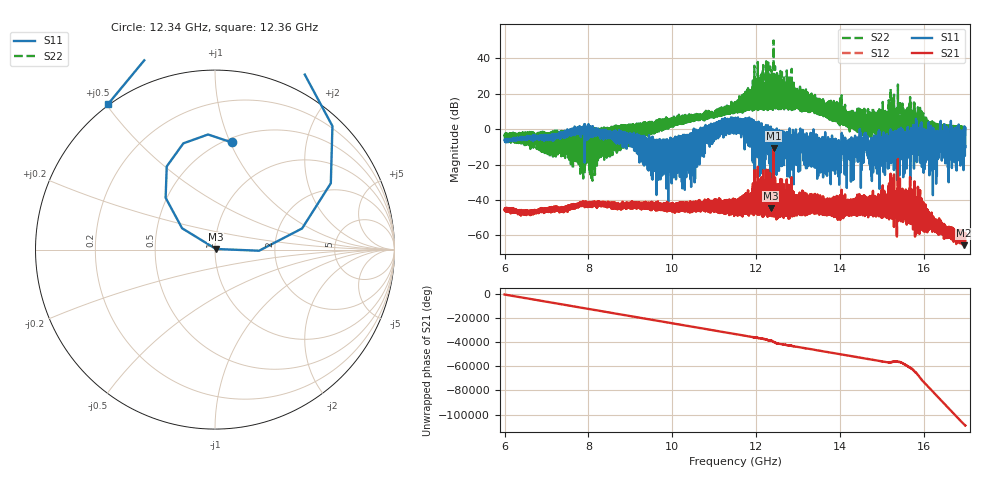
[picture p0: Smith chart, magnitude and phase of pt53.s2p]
#  HZ  S  RI  R  50.00
! Rohde & Schwarz Vector Network Analyzer
! Rohde-Schwarz,ZNA67-2Port,1332450062101215,3.01
! Created: UTC 10/16/2026, 10:05:17 AM
! freq[Hz]  re:S11  im:S11  re:S21  im:S21  re:S12  im:S12  re:S22  im:S22
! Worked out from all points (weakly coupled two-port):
!   11001 points, 6 GHz to 17 GHz, reference 50 ohm
!   highest |S21| = -10.59 dB at 12.42 GHz (marker M1); lowest = -65.7 dB at 16.97 GHz (marker M2)
!   lowest |S11| = -44.4 dB at 12.35 GHz (marker M3), VSWR 1.01, Z = 50.5 + j0.365 ohm
!   |S11| at or under -10 dB: 13.86648 GHz to 13.89284 GHz (26.35 MHz wide, 0.19 % of centre); 13.98373 GHz to 14.01278 GHz (29.04 MHz wide, 0.207 % of centre); 14.70434 GHz to 14.73544 GHz (31.1 MHz wide, 0.211 % of centre) (the widest 3 of 435)
!   |S22| runs from -29.1 to 50.2 dB; largest |S21 - S12| = 0.0095
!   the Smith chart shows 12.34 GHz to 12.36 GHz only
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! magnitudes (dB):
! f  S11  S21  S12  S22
! 6 GHz  -5.9  -45.6  -45.6  -4.1
! 7.834 GHz  -0.1  -41.4  -41.2  -1.0
! 9.667 GHz  -6.0  -42.3  -42.4  5.0
! 10.35 GHz  -3.2  -45.8  -45.9  5.8
! 11.16 GHz  -2.8  -44.5  -44.4  8.1
! 11.5 GHz  6.3  -44.6  -44.6  11.0
! 12.35 GHz  -44.4  -36.8  -36.6  23.4
! 12.42 GHz  -11.2  -10.6  -10.4  50.2
! 13.33 GHz  -11.6  -44.4  -44.3  12.4
! 13.97 GHz  -11.9  -44.7  -44.4  8.1
! 14.63 GHz  -4.6  -42.9  -42.7  1.2
! 14.74 GHz  -6.9  -43.7  -43.6  -4.2
! 15.17 GHz  -7.8  -32.1  -31.9  16.3
! 15.45 GHz  -7.5  -48.4  -48.2  -4.3
! 15.63 GHz  -11.6  -50.5  -50.6  -2.7
! 15.84 GHz  -18.4  -44.8  -44.5  1.8
! 16.19 GHz  -11.6  -54.0  -53.8  -1.3
! 16.38 GHz  -8.2  -53.6  -53.2  -0.1
! 16.69 GHz  -12.4  -57.3  -57.3  0.9
! 16.74 GHz  0.1  -60.1  -60.1  1.0
! 16.97 GHz  0.6  -65.7  -66.1  -0.8
! 17 GHz  0.7  -60.0  -59.9  0.9
